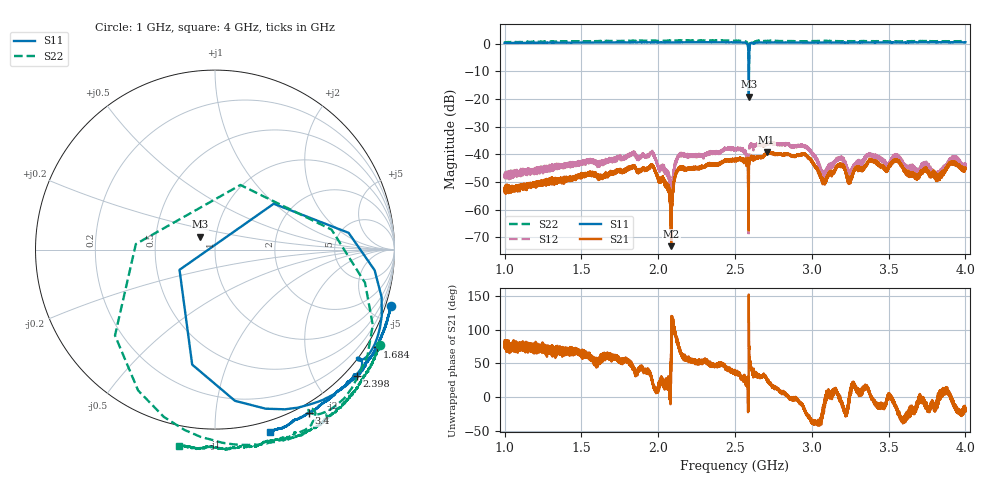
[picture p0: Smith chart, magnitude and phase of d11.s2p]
!Agilent Technologies,N5230C,SG49000117,A.08.50.07
!Agilent N5230C: A.08.50.07
!Date: Monday, May 20, 2024 21:15:10
!Correction: S11(Full 2 Port(1,2))
!S21(Full 2 Port(1,2))
!S12(Full 2 Port(1,2))
!S22(Full 2 Port(1,2))
!S2P File: Measurements: S11, S21, S12, S22:
# Hz S  MA  R 50
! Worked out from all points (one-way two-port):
!   20001 points, 1 GHz to 4 GHz, reference 50 ohm
!   highest |S21| = -39.23 dB at 2.705 GHz (marker M1); lowest = -73.2 dB at 2.084 GHz (marker M2)
!   lowest |S11| = -19.2 dB at 2.59 GHz (marker M3), VSWR 1.25, Z = 41.9 + j6.05 ohm
!   |S11| at or under -10 dB: 2.588925 GHz to 2.590818 GHz (1.893 MHz wide, 0.0731 % of centre)
!   |S22| runs from -9.7 to 1.2 dB; largest |S21 - S12| = 0.0095
!   S11 on the Smith chart (normalised r, x): 1 GHz: -0.63, -6.38; 1.684 GHz: -0.37, -3.59; 2.398 GHz: -0.23, -2.62; 3.4 GHz: -0.10, -1.72; 4 GHz: -0.09, -1.34
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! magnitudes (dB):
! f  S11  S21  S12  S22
! 1 GHz  0.3  -53.7  -47.3  0.5
! 1.5 GHz  0.4  -48.2  -43.1  0.8
! 1.684 GHz  0.5  -46.6  -41.9  1.0
! 1.957 GHz  0.5  -44.0  -39.2  1.0
! 2 GHz  0.4  -49.1  -44.7  1.0
! 2.084 GHz  0.4  -73.2  -57.2  1.1
! 2.139 GHz  0.5  -44.7  -40.3  1.1
! 2.398 GHz  0.5  -43.5  -39.5  1.1
! 2.5 GHz  0.5  -41.8  -37.5  1.1
! 2.59 GHz  -19.2  -50.0  -50.6  -8.8
! 2.608 GHz  0.3  -40.8  -36.3  0.8
! 2.705 GHz  0.4  -39.2  -36.4  1.0
! 3 GHz  0.4  -42.4  -39.7  0.9
! 3.078 GHz  0.4  -50.0  -47.0  1.0
! 3.175 GHz  0.4  -44.1  -41.3  0.9
! 3.246 GHz  0.4  -49.0  -46.6  0.9
! 3.4 GHz  0.4  -42.4  -40.4  0.9
! 3.5 GHz  0.4  -44.8  -44.2  0.8
! 3.55 GHz  0.4  -42.2  -40.0  0.8
! 3.815 GHz  0.5  -48.7  -46.8  0.9
! 3.922 GHz  0.5  -43.3  -41.5  0.9
! 4 GHz  0.5  -45.4  -44.1  0.9
